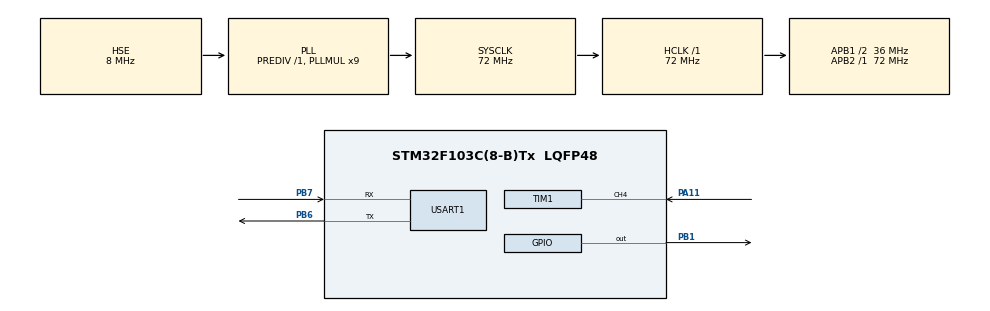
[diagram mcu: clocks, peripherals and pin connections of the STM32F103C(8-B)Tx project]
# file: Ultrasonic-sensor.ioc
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Mcu.Family=STM32F1
Mcu.Name=STM32F103C(8-B)Tx
Mcu.Package=LQFP48
NVIC.PriorityGroup=NVIC_PRIORITYGROUP_4
NVIC.TIM1_CC_IRQn=true\:0\:0\:false\:false\:true\:true\:true\:true
PA11.Signal=S_TIM1_CH4
PB1.Signal=GPIO_Output
PB6.Mode=Asynchronous
PB6.Signal=USART1_TX
PB7.Mode=Asynchronous
PB7.Signal=USART1_RX
PD0-OSC_IN.Mode=HSE-External-Oscillator
PD0-OSC_IN.Signal=RCC_OSC_IN
PD1-OSC_OUT.Mode=HSE-External-Oscillator
PD1-OSC_OUT.Signal=RCC_OSC_OUT
ProjectManager.HeapSize=0x200
ProjectManager.StackSize=0x400
ProjectManager.TargetToolchain=STM32CubeIDE
RCC.AHBFreq_Value=72000000
RCC.APB1CLKDivider=RCC_HCLK_DIV2
RCC.APB1Freq_Value=36000000
RCC.APB1TimFreq_Value=72000000
RCC.APB2Freq_Value=72000000
RCC.APB2TimFreq_Value=72000000
RCC.HCLKFreq_Value=72000000
RCC.PLLMUL=RCC_PLL_MUL9
RCC.PLLSourceVirtual=RCC_PLLSOURCE_HSE
RCC.SYSCLKFreq_VALUE=72000000
RCC.SYSCLKSource=RCC_SYSCLKSOURCE_PLLCLK
RCC.USBFreq_Value=72000000
SH.S_TIM1_CH4.0=TIM1_CH4,Input_Capture4_from_TI4
TIM1.Channel-Input_Capture4_from_TI4=TIM_CHANNEL_4
TIM1.Period=0xffff
TIM1.Prescaler=72
USART1.VirtualMode=VM_ASYNC
VP_SYS_VS_ND.Mode=No_Debug
board=custom

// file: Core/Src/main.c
/* USER CODE BEGIN Header */
/**
  ******************************************************************************
  * @file           : main.c
  * @brief          : Main program body
  ******************************************************************************
  * @attention
  *
  * Copyright (c) 2024 STMicroelectronics.
  * All rights reserved.
  *
  * This software is licensed under terms that can be found in the LICENSE file
  * in the root directory of this software component.
  * If no LICENSE file comes with this software, it is provided AS-IS.
  *
  ******************************************************************************
  */
/* USER CODE END Header */
#include "main.h"
#include <stdio.h>
#include <string.h>
#include <stdlib.h>

TIM_HandleTypeDef htim1;

UART_HandleTypeDef huart1;

/* USER CODE BEGIN PV */

uint32_t	IC_Val1 = 0;
uint32_t	IC_Val2 = 0;
uint32_t	Difference = 0;
uint8_t		Is_First_Captured = 0;	//is the first value captured?
uint8_t		Distance = 0;

/* USER CODE END PV */

void SystemClock_Config(void);
static void MX_GPIO_Init(void);
static void MX_TIM1_Init(void);
static void MX_USART1_UART_Init(void);
/* USER CODE BEGIN PFP */

#define TRIG_PIN GPIO_PIN_1
#define TRIG_PORT GPIOB

/* USER CODE END PFP */

/* USER CODE BEGIN 0 */
void delay(uint16_t time)
{
	__HAL_TIM_SET_COUNTER(&htim1, 0);
	while(__HAL_TIM_GET_COUNTER(&htim1) < time);
}

//Let's write the callback function
void HAL_TIM_IC_CaptureCallback(TIM_HandleTypeDef *htim)
{
	if(htim->Channel == HAL_TIM_ACTIVE_CHANNEL_4)
		//if the interrupt source is channel 1
	{
		if(Is_First_Captured == 0) //if the first value is not captured
		{
			IC_Val1 = HAL_TIM_ReadCapturedValue(htim, TIM_CHANNEL_4);
			//read the first value
			Is_First_Captured = 1; //set the first captured as true
			//Now change the polarity to falling edge
			__HAL_TIM_SET_CAPTUREPOLARITY(htim, TIM_CHANNEL_4, TIM_INPUTCHANNELPOLARITY_FALLING);
		}
		else if(Is_First_Captured == 1)// if the first is already captured
		{
			IC_Val2 = HAL_TIM_ReadCapturedValue(htim, TIM_CHANNEL_4);
			//read second value
			__HAL_TIM_SET_COUNTER(htim, 0); //reset the counter
			if(IC_Val2 > IC_Val1)
			{
				Difference = IC_Val2 - IC_Val1;
			}

			else if (IC_Val1 > IC_Val2)
			{
				Difference = (0xffff - IC_Val1) + IC_Val2;
			}

			Distance = Difference * 0.034/2;
			Is_First_Captured = 0; //set it back to false
			//set polarity to rising edge
			__HAL_TIM_SET_CAPTUREPOLARITY(htim, TIM_CHANNEL_4, TIM_INPUTCHANNELPOLARITY_RISING);
			__HAL_TIM_DISABLE_IT(&htim1, TIM_IT_CC1);
		}
	}
}

void HCSR04_Read(void)
{
	HAL_GPIO_WritePin(TRIG_PORT, TRIG_PIN, GPIO_PIN_SET);
	//pull the TRIG pin HIGH
	delay(10); //wait for 10us
	HAL_GPIO_WritePin(TRIG_PORT, TRIG_PIN, GPIO_PIN_RESET);
	//pull the TRIG pin Low
	__HAL_TIM_ENABLE_IT(&htim1, TIM_IT_CC1);
}

/* USER CODE END 0 */

int main(void)
{

  /* MCU Configuration--------------------------------------------------------*/

  /* Reset of all peripherals, Initializes the Flash interface and the Systick. */
  HAL_Init();

  /* Configure the system clock */
  SystemClock_Config();

  /* Initialize all configured peripherals */
  MX_GPIO_Init();
  MX_TIM1_Init();
  MX_USART1_UART_Init();
  /* USER CODE BEGIN 2 */

  HAL_TIM_IC_Start_IT(&htim1, TIM_CHANNEL_4);
  /* USER CODE END 2 */

  /* Infinite loop */
  while (1)
  {
	  HCSR04_Read();
	  HAL_Delay(2000);

    /* USER CODE BEGIN 3 */
	  char buffer[50];
	         snprintf(buffer, sizeof(buffer), "Distance: %d cm\r\n", Distance);
	         HAL_UART_Transmit(&huart1, (uint8_t *)buffer, strlen(buffer), HAL_MAX_DELAY);
  }
  /* USER CODE END 3 */
}

void SystemClock_Config(void)
{
  RCC_OscInitTypeDef RCC_OscInitStruct = {0};
  RCC_ClkInitTypeDef RCC_ClkInitStruct = {0};

  /** Initializes the RCC Oscillators according to the specified parameters
  * in the RCC_OscInitTypeDef structure.
  */
  RCC_OscInitStruct.OscillatorType = RCC_OSCILLATORTYPE_HSE;
  RCC_OscInitStruct.HSEState = RCC_HSE_ON;
  RCC_OscInitStruct.HSEPredivValue = RCC_HSE_PREDIV_DIV1;
  RCC_OscInitStruct.HSIState = RCC_HSI_ON;
  RCC_OscInitStruct.PLL.PLLState = RCC_PLL_ON;
  RCC_OscInitStruct.PLL.PLLSource = RCC_PLLSOURCE_HSE;
  RCC_OscInitStruct.PLL.PLLMUL = RCC_PLL_MUL9;
  if (HAL_RCC_OscConfig(&RCC_OscInitStruct) != HAL_OK)
  {
    Error_Handler();
  }

  /** Initializes the CPU, AHB and APB buses clocks
  */
  RCC_ClkInitStruct.ClockType = RCC_CLOCKTYPE_HCLK|RCC_CLOCKTYPE_SYSCLK
                              |RCC_CLOCKTYPE_PCLK1|RCC_CLOCKTYPE_PCLK2;
  RCC_ClkInitStruct.SYSCLKSource = RCC_SYSCLKSOURCE_PLLCLK;
  RCC_ClkInitStruct.AHBCLKDivider = RCC_SYSCLK_DIV1;
  RCC_ClkInitStruct.APB1CLKDivider = RCC_HCLK_DIV2;
  RCC_ClkInitStruct.APB2CLKDivider = RCC_HCLK_DIV1;

  if (HAL_RCC_ClockConfig(&RCC_ClkInitStruct, FLASH_LATENCY_2) != HAL_OK)
  {
    Error_Handler();
  }
}

static void MX_TIM1_Init(void)
{

  TIM_MasterConfigTypeDef sMasterConfig = {0};
  TIM_IC_InitTypeDef sConfigIC = {0};

  htim1.Instance = TIM1;
  htim1.Init.Prescaler = 72;
  htim1.Init.CounterMode = TIM_COUNTERMODE_UP;
  htim1.Init.Period = 0xffff;
  htim1.Init.ClockDivision = TIM_CLOCKDIVISION_DIV1;
  htim1.Init.RepetitionCounter = 0;
  htim1.Init.AutoReloadPreload = TIM_AUTORELOAD_PRELOAD_DISABLE;
  if (HAL_TIM_IC_Init(&htim1) != HAL_OK)
  {
    Error_Handler();
  }
  sMasterConfig.MasterOutputTrigger = TIM_TRGO_RESET;
  sMasterConfig.MasterSlaveMode = TIM_MASTERSLAVEMODE_DISABLE;
  if (HAL_TIMEx_MasterConfigSynchronization(&htim1, &sMasterConfig) != HAL_OK)
  {
    Error_Handler();
  }
  sConfigIC.ICPolarity = TIM_INPUTCHANNELPOLARITY_RISING;
  sConfigIC.ICSelection = TIM_ICSELECTION_DIRECTTI;
  sConfigIC.ICPrescaler = TIM_ICPSC_DIV1;
  sConfigIC.ICFilter = 0;
  if (HAL_TIM_IC_ConfigChannel(&htim1, &sConfigIC, TIM_CHANNEL_4) != HAL_OK)
  {
    Error_Handler();
  }

}

static void MX_USART1_UART_Init(void)
{

  huart1.Instance = USART1;
  huart1.Init.BaudRate = 115200;
  huart1.Init.WordLength = UART_WORDLENGTH_8B;
  huart1.Init.StopBits = UART_STOPBITS_1;
  huart1.Init.Parity = UART_PARITY_NONE;
  huart1.Init.Mode = UART_MODE_TX_RX;
  huart1.Init.HwFlowCtl = UART_HWCONTROL_NONE;
  huart1.Init.OverSampling = UART_OVERSAMPLING_16;
  if (HAL_UART_Init(&huart1) != HAL_OK)
  {
    Error_Handler();
  }

}

static void MX_GPIO_Init(void)
{
  GPIO_InitTypeDef GPIO_InitStruct = {0};

  /* GPIO Ports Clock Enable */
  __HAL_RCC_GPIOD_CLK_ENABLE();
  __HAL_RCC_GPIOB_CLK_ENABLE();
  __HAL_RCC_GPIOA_CLK_ENABLE();

  /*Configure GPIO pin Output Level */
  HAL_GPIO_WritePin(GPIOB, GPIO_PIN_1, GPIO_PIN_RESET);

  /*Configure GPIO pin : PB1 */
  GPIO_InitStruct.Pin = GPIO_PIN_1;
  GPIO_InitStruct.Mode = GPIO_MODE_OUTPUT_PP;
  GPIO_InitStruct.Pull = GPIO_NOPULL;
  GPIO_InitStruct.Speed = GPIO_SPEED_FREQ_LOW;
  HAL_GPIO_Init(GPIOB, &GPIO_InitStruct);

}

void Error_Handler(void)
{
  __disable_irq();
  while (1)
  {
  }
}
